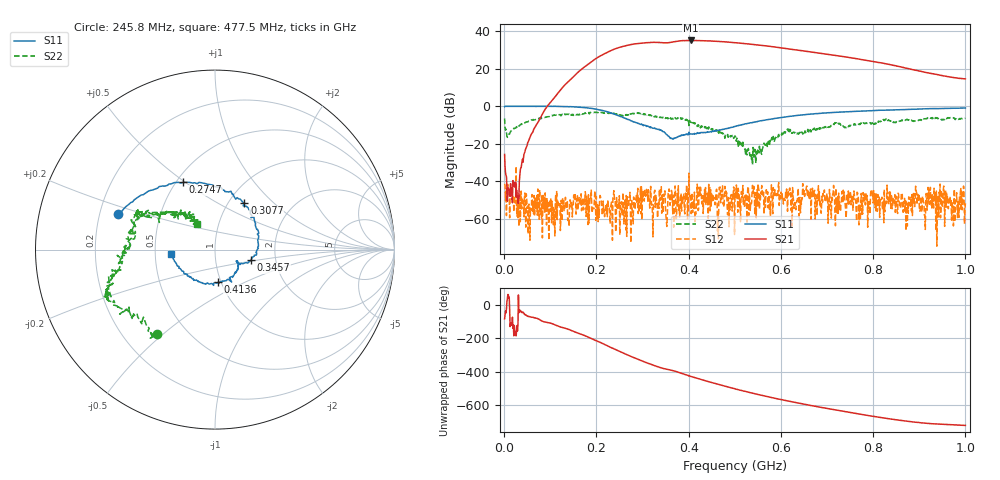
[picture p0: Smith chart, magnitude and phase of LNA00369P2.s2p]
! Created with skrf 1.9.0 (http://scikit-rf.org).
# Hz S RI R 50.0
!freq ReS11 ImS11 ReS21 ImS21 ReS12 ImS12 ReS22 ImS22
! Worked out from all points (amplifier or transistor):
!   1001 points, 1 MHz to 1 GHz, reference 50 ohm
!   highest |S21| = 35.1 dB at 404.6 MHz (marker M1)
!   |S21| within 3 dB of that: 260.5 MHz to 570.7 MHz (310.2 MHz wide, 74.6 % of centre)
!   unconditionally stable (mu >= 1): start of sweep to 59.94 MHz; 317.7 MHz to 400.4 MHz; 401.1 MHz to end of sweep (the widest 3 of 42)
!   at 166.8 MHz: K = 0.29, MSG = 33.1 dB, |S12| = -46.6 dB
!   at 500.5 MHz: K = 1.95, MAG = 34.5 dB, |S12| = -46.3 dB
!   at 1 GHz: K = 4.87, MAG = 23.3 dB, |S12| = -51.7 dB
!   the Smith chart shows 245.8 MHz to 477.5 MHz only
!   S11 on the Smith chart (normalised r, x): 245.8 MHz: 0.28, +0.16; 274.7 MHz: 0.54, +0.49; 307.7 MHz: 1.18, +0.67; 345.7 MHz: 1.49, -0.19; 413.6 MHz: 0.97, -0.36; 477.5 MHz: 0.60, -0.03
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1000000  0.9729 0.00849  0.00552 -0.0516  -0.000836 0.00854  0.3698 0.2958
1.07893e8  0.5227 -0.8506  -0.75 -1.464  -0.00177 0.00029  0.4254 -0.4055
1.67833e8  -0.2419 -0.9014  -9.688 -0.5763  -0.000444 0.0016  0.0326 -0.6376
2.1079e8  -0.6887 -0.3648  -15.35 16.89  0.00118 -0.00274  -0.2322 -0.6445
2.45755e8  -0.5409 0.1971  1.486 35.53  -0.00188 0.00153  -0.3254 -0.4696
2.74726e8  -0.1776 0.3746  26.84 34.68  -1.56e-05 0.000231  -0.5337 -0.3171
3.07693e8  0.1641 0.2577  47.37 13.66  -0.00219 0.00359  -0.5738 -0.1585
3.34666e8  0.242 0.0191  49.15 -9.658  0.000287 0.00277  -0.5153 -0.047
3.45655e8  0.2009 -0.0595  46.14 -16.93  -0.000326 0.00454  -0.4971 0.00519
3.75625e8  0.1298 -0.0809  41.11 -35.39  0.000802 0.00472  -0.4502 0.1932
4.04596e8  0.0615 -0.1738  22.13 -52.09  -1.19e-05 0.00451  -0.3224 0.1928
4.13587e8  0.0178 -0.182  15.05 -54.25  -0.000479 0.000698  -0.3011 0.1981
4.41559e8  -0.1215 -0.1615  -7.167 -54.98  0.00378 0.00157  -0.1769 0.2019
4.77523e8  -0.2463 -0.0222  -29.56 -42.97  0.00353 0.00229  -0.0981 0.1402
5.005e8  -0.2719 0.1014  -39.01 -30.9  -0.00326 0.0036  -0.0849 0.1393
5.39461e8  -0.206 0.3131  -43.3 -9.376  0.00606 0.00241  -0.0797 -0.0037
5.88412e8  -0.00039 0.4762  -35.66 11.99  0.00361 -0.00268  -0.1138 -0.0936
6.28372e8  0.1936 0.5253  -24.37 21.15  0.00155 -0.00112  -0.1642 -0.119
6.67333e8  0.3827 0.4909  -12.99 24.28  0.000854 -0.00425  -0.2308 -0.0549
7.53247e8  0.6656 0.2824  4.537 18.84  -0.000306 -0.00345  -0.3025 0.0111
8.34166e8  0.7927 0.0216  9.942 8.515  -0.00159 0.00185  -0.4223 0.0534
1e9  0.7261 -0.529  5.353 0.0598  0.000526 0.00256  -0.2655 0.4043
